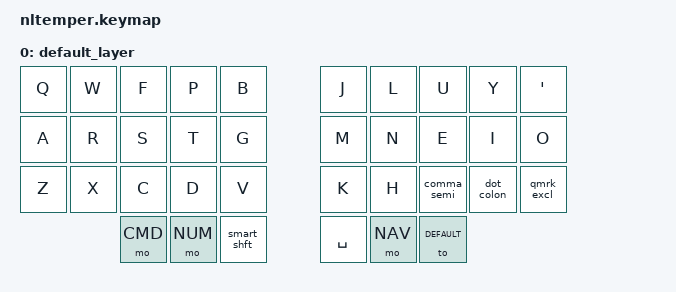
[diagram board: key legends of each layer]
// This file was generated from a template. Edit it to match your keyboard.
// See https://zmk.dev/docs/development/hardware-integration/new-shield for more instructions.

#include <behaviors.dtsi>
#include <dt-bindings/zmk/keys.h>
#include <dt-bindings/zmk/bt.h>

#define DEFAULT 0

/ {
    // Define a default keymap here.
    // See https://zmk.dev/docs/development/hardware-integration/new-shield#default-keymap.
    keymap {
        compatible = "zmk,keymap";

        default_layer {
            bindings = <
                // ╭─────────────┬─────────────┬─────────────┬─────────────┬─────────────╮   ╭─────────────┬─────────────┬─────────────┬─────────────┬─────────────╮
                        &kp Q         &kp W         &kp F         &kp P         &kp B             &kp J         &kp L         &kp U         &kp Y       &kp APOS   
                // ├─────────────┼─────────────┼─────────────┼─────────────┼─────────────┤   ├─────────────┼─────────────┼─────────────┼─────────────┼─────────────┤
                        &kp A         &kp R         &kp S         &kp T         &kp G             &kp M         &kp N         &kp E         &kp I         &kp O
                // ├─────────────┼─────────────┼─────────────┼─────────────┼─────────────┤   ├─────────────┼─────────────┼─────────────┼─────────────┼─────────────┤
                        &kp Z         &kp X         &kp C         &kp D         &kp V             &kp K         &kp H      &comma_semi    &dot_colon    &qmrk_excl
                // ╰─────────────┴─────────────┼─────────────┼─────────────┼─────────────┤   ├─────────────┼─────────────┼─────────────┼─────────────┴─────────────╯
                                                   &mo CMD       &mo NUM     &smart_shft        &kp SPACE      &mo NAV     &to DEFAULT
                //                             ╰─────────────┴─────────────┴─────────────╯   ╰─────────────┴─────────────┴─────────────╯
                        >;
        };
    };
};
